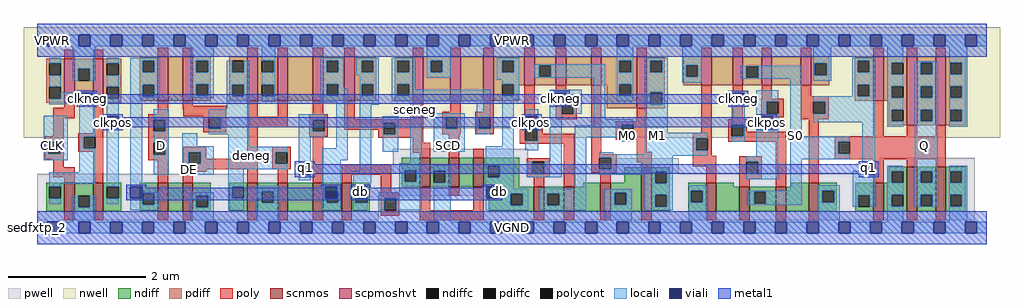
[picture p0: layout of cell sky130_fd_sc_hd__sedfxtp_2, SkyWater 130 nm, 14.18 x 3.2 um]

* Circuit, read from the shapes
.subckt sky130_fd_sc_hd__sedfxtp_2 CLK D DE SCD SCE VGND VNB VPB VPWR Q
XM1 VGND CLK n1 VNB sky130_fd_pr__nfet_01v8 w=0.42 l=0.15
XM2 n2 n1 VGND VNB sky130_fd_pr__nfet_01v8 w=0.42 l=0.15
XM3 n3 D n4 VNB sky130_fd_pr__nfet_01v8 w=0.42 l=0.15
XM4 VGND DE n3 VNB sky130_fd_pr__nfet_01v8 w=0.42 l=0.15
XM5 VGND DE n5 VNB sky130_fd_pr__nfet_01v8 w=0.42 l=0.15
XM6 n6 n5 VGND VNB sky130_fd_pr__nfet_01v8 w=0.42 l=0.15
XM7 n4 n7 n6 VNB sky130_fd_pr__nfet_01v8 w=0.42 l=0.15
XM8 n8 n9 n4 VNB sky130_fd_pr__nfet_01v8 w=0.42 l=0.15
XM9 VGND SCE n9 VNB sky130_fd_pr__nfet_01v8 w=0.42 l=0.15
XM10 n10 SCD VGND VNB sky130_fd_pr__nfet_01v8 w=0.42 l=0.15
XM11 n8 SCE n10 VNB sky130_fd_pr__nfet_01v8 w=0.42 l=0.15
XM12 n11 n1 n8 VNB sky130_fd_pr__nfet_01v8 w=0.36 l=0.15
XM13 n12 n2 n11 VNB sky130_fd_pr__nfet_01v8 w=0.36 l=0.15
XM14 VGND n13 n12 VNB sky130_fd_pr__nfet_01v8 w=0.42 l=0.15
XM15 n13 n11 VGND VNB sky130_fd_pr__nfet_01v8 w=0.64 l=0.15
XM16 n14 n13 VGND VNB sky130_fd_pr__nfet_01v8 w=0.42 l=0.15
XM17 n15 n2 n14 VNB sky130_fd_pr__nfet_01v8 w=0.36 l=0.15
XM18 n16 n1 n15 VNB sky130_fd_pr__nfet_01v8 w=0.36 l=0.15
XM19 VGND n7 n16 VNB sky130_fd_pr__nfet_01v8 w=0.42 l=0.15
XM20 VGND n15 n7 VNB sky130_fd_pr__nfet_01v8 w=0.42 l=0.15
XM21 Q n15 VGND VNB sky130_fd_pr__nfet_01v8 w=0.65 l=0.15 m=2
XM22 VPWR CLK n1 VPB sky130_fd_pr__pfet_01v8_hvt w=0.64 l=0.15
XM23 n2 n1 VPWR VPB sky130_fd_pr__pfet_01v8_hvt w=0.64 l=0.15
XM24 n17 D n4 VPB sky130_fd_pr__pfet_01v8_hvt w=0.64 l=0.15
XM25 VPWR n5 n17 VPB sky130_fd_pr__pfet_01v8_hvt w=0.64 l=0.15
XM26 VPWR DE n5 VPB sky130_fd_pr__pfet_01v8_hvt w=0.64 l=0.15
XM27 n18 DE VPWR VPB sky130_fd_pr__pfet_01v8_hvt w=0.64 l=0.15
XM28 n4 n7 n18 VPB sky130_fd_pr__pfet_01v8_hvt w=0.64 l=0.15
XM29 n8 SCE n4 VPB sky130_fd_pr__pfet_01v8_hvt w=0.64 l=0.15
XM30 VPWR SCE n9 VPB sky130_fd_pr__pfet_01v8_hvt w=0.64 l=0.15
XM31 n19 SCD VPWR VPB sky130_fd_pr__pfet_01v8_hvt w=0.64 l=0.15
XM32 n8 n9 n19 VPB sky130_fd_pr__pfet_01v8_hvt w=0.64 l=0.15
XM33 n11 n2 n8 VPB sky130_fd_pr__pfet_01v8_hvt w=0.42 l=0.15
XM34 n20 n1 n11 VPB sky130_fd_pr__pfet_01v8_hvt w=0.42 l=0.15
XM35 VPWR n13 n20 VPB sky130_fd_pr__pfet_01v8_hvt w=0.42 l=0.15
XM36 n13 n11 VPWR VPB sky130_fd_pr__pfet_01v8_hvt w=0.75 l=0.15
XM37 n21 n13 VPWR VPB sky130_fd_pr__pfet_01v8_hvt w=0.42 l=0.15
XM38 n15 n1 n21 VPB sky130_fd_pr__pfet_01v8_hvt w=0.42 l=0.15
XM39 n22 n2 n15 VPB sky130_fd_pr__pfet_01v8_hvt w=0.42 l=0.15
XM40 VPWR n7 n22 VPB sky130_fd_pr__pfet_01v8_hvt w=0.42 l=0.15
XM41 VPWR n15 n7 VPB sky130_fd_pr__pfet_01v8_hvt w=0.64 l=0.15
XM42 Q n15 VPWR VPB sky130_fd_pr__pfet_01v8_hvt w=1 l=0.15 m=2
.ends

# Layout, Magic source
magic
tech sky130B
magscale 1 2
<< nwell >>
rect -38 287 2798 582
rect -38 261 977 287
rect 1440 261 2798 287
<< pwell >>
rect 1034 157 1427 229
rect 1680 157 1864 201
rect 2449 157 2725 203
rect 1 93 2725 157
rect 1 21 993 93
rect 1287 21 2725 93
rect 29 -17 63 21
<< scnmos >>
rect 79 47 109 131
rect 163 47 193 131
rect 351 47 381 131
rect 423 47 453 131
rect 611 47 641 131
rect 699 47 729 131
rect 801 47 831 131
rect 885 47 915 131
rect 1112 119 1142 203
rect 1196 119 1226 203
rect 1268 119 1298 203
rect 1443 47 1473 119
rect 1531 47 1561 119
rect 1637 47 1667 131
rect 1756 47 1786 175
rect 1944 47 1974 131
rect 2041 47 2071 119
rect 2147 47 2177 119
rect 2242 47 2272 131
rect 2430 47 2460 131
rect 2527 47 2557 177
rect 2611 47 2641 177
<< scpmoshvt >>
rect 79 363 109 491
rect 163 363 193 491
rect 351 369 381 497
rect 423 369 453 497
rect 611 369 641 497
rect 699 369 729 497
rect 801 369 831 497
rect 893 369 923 497
rect 1092 369 1122 497
rect 1201 369 1231 497
rect 1297 369 1327 497
rect 1416 413 1446 497
rect 1507 413 1537 497
rect 1610 413 1640 497
rect 1742 347 1772 497
rect 1930 413 1960 497
rect 2021 413 2051 497
rect 2105 413 2135 497
rect 2219 413 2249 497
rect 2430 369 2460 497
rect 2527 297 2557 497
rect 2611 297 2641 497
<< ndiff >>
rect 27 119 79 131
rect 27 85 35 119
rect 69 85 79 119
rect 27 47 79 85
rect 109 93 163 131
rect 109 59 119 93
rect 153 59 163 93
rect 109 47 163 59
rect 193 119 245 131
rect 193 85 203 119
rect 237 85 245 119
rect 193 47 245 85
rect 299 100 351 131
rect 299 66 307 100
rect 341 66 351 100
rect 299 47 351 66
rect 381 47 423 131
rect 453 93 505 131
rect 453 59 463 93
rect 497 59 505 93
rect 453 47 505 59
rect 559 119 611 131
rect 559 85 567 119
rect 601 85 611 119
rect 559 47 611 85
rect 641 106 699 131
rect 641 72 653 106
rect 687 72 699 106
rect 641 47 699 72
rect 729 47 801 131
rect 831 106 885 131
rect 831 72 841 106
rect 875 72 885 106
rect 831 47 885 72
rect 915 106 967 131
rect 915 72 925 106
rect 959 72 967 106
rect 915 47 967 72
rect 1060 167 1112 203
rect 1060 133 1068 167
rect 1102 133 1112 167
rect 1060 119 1112 133
rect 1142 165 1196 203
rect 1142 131 1152 165
rect 1186 131 1196 165
rect 1142 119 1196 131
rect 1226 119 1268 203
rect 1298 180 1401 203
rect 1298 146 1310 180
rect 1344 146 1401 180
rect 1298 119 1401 146
rect 1706 131 1756 175
rect 1587 119 1637 131
rect 1313 99 1443 119
rect 1313 65 1377 99
rect 1411 65 1443 99
rect 1313 47 1443 65
rect 1473 99 1531 119
rect 1473 65 1483 99
rect 1517 65 1531 99
rect 1473 47 1531 65
rect 1561 47 1637 119
rect 1667 101 1756 131
rect 1667 67 1678 101
rect 1712 67 1756 101
rect 1667 47 1756 67
rect 1786 163 1838 175
rect 1786 129 1796 163
rect 1830 129 1838 163
rect 1786 95 1838 129
rect 1786 61 1796 95
rect 1830 61 1838 95
rect 1786 47 1838 61
rect 1892 107 1944 131
rect 1892 73 1900 107
rect 1934 73 1944 107
rect 1892 47 1944 73
rect 1974 119 2024 131
rect 2475 164 2527 177
rect 2475 131 2483 164
rect 2192 119 2242 131
rect 1974 47 2041 119
rect 2071 104 2147 119
rect 2071 70 2084 104
rect 2118 70 2147 104
rect 2071 47 2147 70
rect 2177 47 2242 119
rect 2272 107 2324 131
rect 2272 73 2282 107
rect 2316 73 2324 107
rect 2272 47 2324 73
rect 2378 94 2430 131
rect 2378 60 2386 94
rect 2420 60 2430 94
rect 2378 47 2430 60
rect 2460 130 2483 131
rect 2517 130 2527 164
rect 2460 96 2527 130
rect 2460 62 2483 96
rect 2517 62 2527 96
rect 2460 47 2527 62
rect 2557 164 2611 177
rect 2557 130 2567 164
rect 2601 130 2611 164
rect 2557 96 2611 130
rect 2557 62 2567 96
rect 2601 62 2611 96
rect 2557 47 2611 62
rect 2641 164 2699 177
rect 2641 130 2653 164
rect 2687 130 2699 164
rect 2641 96 2699 130
rect 2641 62 2653 96
rect 2687 62 2699 96
rect 2641 47 2699 62
<< pdiff >>
rect 27 477 79 491
rect 27 443 35 477
rect 69 443 79 477
rect 27 409 79 443
rect 27 375 35 409
rect 69 375 79 409
rect 27 363 79 375
rect 109 461 163 491
rect 109 427 119 461
rect 153 427 163 461
rect 109 363 163 427
rect 193 477 245 491
rect 193 443 203 477
rect 237 443 245 477
rect 193 409 245 443
rect 193 375 203 409
rect 237 375 245 409
rect 193 363 245 375
rect 299 485 351 497
rect 299 451 307 485
rect 341 451 351 485
rect 299 415 351 451
rect 299 381 307 415
rect 341 381 351 415
rect 299 369 351 381
rect 381 369 423 497
rect 453 485 505 497
rect 453 451 463 485
rect 497 451 505 485
rect 453 417 505 451
rect 453 383 463 417
rect 497 383 505 417
rect 453 369 505 383
rect 559 485 611 497
rect 559 451 567 485
rect 601 451 611 485
rect 559 415 611 451
rect 559 381 567 415
rect 601 381 611 415
rect 559 369 611 381
rect 641 485 699 497
rect 641 451 653 485
rect 687 451 699 485
rect 641 415 699 451
rect 641 381 653 415
rect 687 381 699 415
rect 641 369 699 381
rect 729 369 801 497
rect 831 485 893 497
rect 831 451 841 485
rect 875 451 893 485
rect 831 417 893 451
rect 831 383 841 417
rect 875 383 893 417
rect 831 369 893 383
rect 923 485 985 497
rect 923 451 943 485
rect 977 451 985 485
rect 923 417 985 451
rect 923 383 943 417
rect 977 383 985 417
rect 923 369 985 383
rect 1039 485 1092 497
rect 1039 451 1047 485
rect 1081 451 1092 485
rect 1039 417 1092 451
rect 1039 383 1047 417
rect 1081 383 1092 417
rect 1039 369 1092 383
rect 1122 485 1201 497
rect 1122 451 1144 485
rect 1178 451 1201 485
rect 1122 369 1201 451
rect 1231 369 1297 497
rect 1327 485 1416 497
rect 1327 451 1351 485
rect 1385 451 1416 485
rect 1327 417 1416 451
rect 1327 383 1351 417
rect 1385 413 1416 417
rect 1446 472 1507 497
rect 1446 438 1459 472
rect 1493 438 1507 472
rect 1446 413 1507 438
rect 1537 413 1610 497
rect 1640 485 1742 497
rect 1640 451 1692 485
rect 1726 451 1742 485
rect 1640 417 1742 451
rect 1640 413 1692 417
rect 1385 383 1401 413
rect 1327 369 1401 383
rect 1655 383 1692 413
rect 1726 383 1742 417
rect 1655 347 1742 383
rect 1772 485 1824 497
rect 1772 451 1782 485
rect 1816 451 1824 485
rect 1772 393 1824 451
rect 1878 472 1930 497
rect 1878 438 1886 472
rect 1920 438 1930 472
rect 1878 413 1930 438
rect 1960 413 2021 497
rect 2051 469 2105 497
rect 2051 435 2061 469
rect 2095 435 2105 469
rect 2051 413 2105 435
rect 2135 413 2219 497
rect 2249 477 2302 497
rect 2249 443 2260 477
rect 2294 443 2302 477
rect 2249 413 2302 443
rect 2376 485 2430 497
rect 2376 451 2384 485
rect 2418 451 2430 485
rect 2376 415 2430 451
rect 1772 359 1782 393
rect 1816 359 1824 393
rect 1772 347 1824 359
rect 2376 381 2384 415
rect 2418 381 2430 415
rect 2376 369 2430 381
rect 2460 479 2527 497
rect 2460 445 2483 479
rect 2517 445 2527 479
rect 2460 411 2527 445
rect 2460 377 2483 411
rect 2517 377 2527 411
rect 2460 369 2527 377
rect 2475 343 2527 369
rect 2475 309 2483 343
rect 2517 309 2527 343
rect 2475 297 2527 309
rect 2557 479 2611 497
rect 2557 445 2567 479
rect 2601 445 2611 479
rect 2557 411 2611 445
rect 2557 377 2567 411
rect 2601 377 2611 411
rect 2557 343 2611 377
rect 2557 309 2567 343
rect 2601 309 2611 343
rect 2557 297 2611 309
rect 2641 479 2699 497
rect 2641 445 2653 479
rect 2687 445 2699 479
rect 2641 411 2699 445
rect 2641 377 2653 411
rect 2687 377 2699 411
rect 2641 343 2699 377
rect 2641 309 2653 343
rect 2687 309 2699 343
rect 2641 297 2699 309
<< ndiffc >>
rect 35 85 69 119
rect 119 59 153 93
rect 203 85 237 119
rect 307 66 341 100
rect 463 59 497 93
rect 567 85 601 119
rect 653 72 687 106
rect 841 72 875 106
rect 925 72 959 106
rect 1068 133 1102 167
rect 1152 131 1186 165
rect 1310 146 1344 180
rect 1377 65 1411 99
rect 1483 65 1517 99
rect 1678 67 1712 101
rect 1796 129 1830 163
rect 1796 61 1830 95
rect 1900 73 1934 107
rect 2084 70 2118 104
rect 2282 73 2316 107
rect 2386 60 2420 94
rect 2483 130 2517 164
rect 2483 62 2517 96
rect 2567 130 2601 164
rect 2567 62 2601 96
rect 2653 130 2687 164
rect 2653 62 2687 96
<< pdiffc >>
rect 35 443 69 477
rect 35 375 69 409
rect 119 427 153 461
rect 203 443 237 477
rect 203 375 237 409
rect 307 451 341 485
rect 307 381 341 415
rect 463 451 497 485
rect 463 383 497 417
rect 567 451 601 485
rect 567 381 601 415
rect 653 451 687 485
rect 653 381 687 415
rect 841 451 875 485
rect 841 383 875 417
rect 943 451 977 485
rect 943 383 977 417
rect 1047 451 1081 485
rect 1047 383 1081 417
rect 1144 451 1178 485
rect 1351 451 1385 485
rect 1351 383 1385 417
rect 1459 438 1493 472
rect 1692 451 1726 485
rect 1692 383 1726 417
rect 1782 451 1816 485
rect 1886 438 1920 472
rect 2061 435 2095 469
rect 2260 443 2294 477
rect 2384 451 2418 485
rect 1782 359 1816 393
rect 2384 381 2418 415
rect 2483 445 2517 479
rect 2483 377 2517 411
rect 2483 309 2517 343
rect 2567 445 2601 479
rect 2567 377 2601 411
rect 2567 309 2601 343
rect 2653 445 2687 479
rect 2653 377 2687 411
rect 2653 309 2687 343
<< poly >>
rect 79 491 109 517
rect 163 491 193 517
rect 351 497 381 523
rect 423 497 453 523
rect 611 497 641 523
rect 699 497 729 523
rect 801 497 831 523
rect 893 497 923 523
rect 1092 497 1122 523
rect 1201 497 1231 523
rect 1297 497 1327 523
rect 1416 497 1446 523
rect 1507 497 1537 523
rect 1610 497 1640 523
rect 1742 497 1772 523
rect 1930 497 1960 523
rect 2021 497 2051 523
rect 2105 497 2135 523
rect 2219 497 2249 523
rect 2430 497 2460 523
rect 2527 497 2557 523
rect 2611 497 2641 523
rect 79 348 109 363
rect 47 318 109 348
rect 47 265 77 318
rect 163 274 193 363
rect 351 330 381 369
rect 423 354 453 369
rect 423 343 549 354
rect 23 249 77 265
rect 23 215 33 249
rect 67 215 77 249
rect 119 264 193 274
rect 119 230 135 264
rect 169 230 193 264
rect 119 220 193 230
rect 23 199 77 215
rect 47 176 77 199
rect 47 146 109 176
rect 79 131 109 146
rect 163 131 193 220
rect 323 314 383 330
rect 425 324 549 343
rect 323 280 339 314
rect 373 280 383 314
rect 323 246 383 280
rect 483 321 549 324
rect 483 287 499 321
rect 533 287 549 321
rect 483 277 549 287
rect 611 322 641 369
rect 699 322 729 369
rect 801 330 831 369
rect 611 292 729 322
rect 791 314 845 330
rect 323 212 339 246
rect 373 212 383 246
rect 323 196 383 212
rect 425 219 491 235
rect 351 131 381 196
rect 425 185 441 219
rect 475 200 491 219
rect 611 200 641 292
rect 791 280 801 314
rect 835 280 845 314
rect 893 315 923 369
rect 1092 315 1122 369
rect 1201 337 1231 369
rect 1297 337 1327 369
rect 893 305 1122 315
rect 893 285 1007 305
rect 791 264 845 280
rect 991 271 1007 285
rect 1041 271 1122 305
rect 1177 321 1231 337
rect 1177 287 1187 321
rect 1221 287 1231 321
rect 1177 271 1231 287
rect 1273 321 1327 337
rect 1273 287 1283 321
rect 1317 287 1327 321
rect 1416 297 1446 413
rect 1507 381 1537 413
rect 1507 365 1568 381
rect 1507 331 1524 365
rect 1558 331 1568 365
rect 1507 315 1568 331
rect 1273 271 1327 287
rect 1403 287 1469 297
rect 475 185 641 200
rect 425 176 641 185
rect 423 170 641 176
rect 423 162 491 170
rect 423 131 453 162
rect 611 131 641 170
rect 683 219 737 235
rect 683 185 693 219
rect 727 185 737 219
rect 683 169 737 185
rect 699 131 729 169
rect 801 131 831 264
rect 991 261 1122 271
rect 1092 247 1122 261
rect 1092 218 1142 247
rect 1112 203 1142 218
rect 1196 203 1226 271
rect 1403 253 1419 287
rect 1453 273 1469 287
rect 1453 253 1561 273
rect 1403 243 1561 253
rect 1268 203 1298 229
rect 885 153 1029 183
rect 885 131 915 153
rect 999 101 1029 153
rect 1423 191 1489 201
rect 1423 157 1439 191
rect 1473 157 1489 191
rect 1423 147 1489 157
rect 1443 119 1473 147
rect 1531 119 1561 243
rect 1610 213 1640 413
rect 1742 309 1772 347
rect 1682 299 1772 309
rect 1682 265 1698 299
rect 1732 265 1772 299
rect 1930 275 1960 413
rect 2021 315 2051 413
rect 2105 375 2135 413
rect 2219 381 2249 413
rect 2104 365 2170 375
rect 2104 331 2120 365
rect 2154 331 2170 365
rect 2104 321 2170 331
rect 2219 365 2300 381
rect 2219 331 2256 365
rect 2290 331 2300 365
rect 2219 315 2300 331
rect 1682 255 1772 265
rect 1742 220 1772 255
rect 1905 259 1960 275
rect 1905 225 1915 259
rect 1949 225 1960 259
rect 2008 299 2062 315
rect 2008 265 2018 299
rect 2052 279 2062 299
rect 2052 265 2177 279
rect 2008 249 2177 265
rect 1610 203 1684 213
rect 1610 169 1634 203
rect 1668 169 1684 203
rect 1742 190 1786 220
rect 1756 175 1786 190
rect 1905 209 1960 225
rect 1905 179 1974 209
rect 1610 159 1684 169
rect 1637 131 1667 159
rect 999 85 1053 101
rect 999 51 1009 85
rect 1043 51 1053 85
rect 79 21 109 47
rect 163 21 193 47
rect 351 21 381 47
rect 423 21 453 47
rect 611 21 641 47
rect 699 21 729 47
rect 801 21 831 47
rect 885 21 915 47
rect 999 35 1053 51
rect 1112 51 1142 119
rect 1196 93 1226 119
rect 1268 51 1298 119
rect 1112 21 1298 51
rect 1944 131 1974 179
rect 2041 191 2105 207
rect 2041 157 2061 191
rect 2095 157 2105 191
rect 2041 141 2105 157
rect 2041 119 2071 141
rect 2147 119 2177 249
rect 2242 131 2272 315
rect 2430 265 2460 369
rect 2527 265 2557 297
rect 2611 265 2641 297
rect 2318 249 2641 265
rect 2318 215 2328 249
rect 2362 215 2641 249
rect 2318 199 2641 215
rect 2430 131 2460 199
rect 2527 177 2557 199
rect 2611 177 2641 199
rect 1443 21 1473 47
rect 1531 21 1561 47
rect 1637 21 1667 47
rect 1756 21 1786 47
rect 1944 21 1974 47
rect 2041 21 2071 47
rect 2147 21 2177 47
rect 2242 21 2272 47
rect 2430 21 2460 47
rect 2527 21 2557 47
rect 2611 21 2641 47
<< polycont >>
rect 33 215 67 249
rect 135 230 169 264
rect 339 280 373 314
rect 499 287 533 321
rect 339 212 373 246
rect 441 185 475 219
rect 801 280 835 314
rect 1007 271 1041 305
rect 1187 287 1221 321
rect 1283 287 1317 321
rect 1524 331 1558 365
rect 693 185 727 219
rect 1419 253 1453 287
rect 1439 157 1473 191
rect 1698 265 1732 299
rect 2120 331 2154 365
rect 2256 331 2290 365
rect 1915 225 1949 259
rect 2018 265 2052 299
rect 1634 169 1668 203
rect 1009 51 1043 85
rect 2061 157 2095 191
rect 2328 215 2362 249
<< locali >>
rect 0 527 29 561
rect 63 527 121 561
rect 155 527 213 561
rect 247 527 305 561
rect 339 527 397 561
rect 431 527 489 561
rect 523 527 581 561
rect 615 527 673 561
rect 707 527 765 561
rect 799 527 857 561
rect 891 527 949 561
rect 983 527 1041 561
rect 1075 527 1133 561
rect 1167 527 1225 561
rect 1259 527 1317 561
rect 1351 527 1409 561
rect 1443 527 1501 561
rect 1535 527 1593 561
rect 1627 527 1685 561
rect 1719 527 1777 561
rect 1811 527 1869 561
rect 1903 527 1961 561
rect 1995 527 2053 561
rect 2087 527 2145 561
rect 2179 527 2237 561
rect 2271 527 2329 561
rect 2363 527 2421 561
rect 2455 527 2513 561
rect 2547 527 2605 561
rect 2639 527 2697 561
rect 2731 527 2760 561
rect 35 477 69 493
rect 35 409 69 443
rect 103 461 169 527
rect 103 427 119 461
rect 153 427 169 461
rect 203 477 237 493
rect 203 409 237 443
rect 69 391 169 393
rect 69 375 127 391
rect 35 359 127 375
rect 123 357 127 359
rect 161 357 169 391
rect 19 249 89 325
rect 19 215 33 249
rect 67 215 89 249
rect 19 195 89 215
rect 123 264 169 357
rect 123 230 135 264
rect 123 161 169 230
rect 35 127 169 161
rect 203 323 237 375
rect 35 119 69 127
rect 203 119 237 289
rect 35 69 69 85
rect 103 59 119 93
rect 153 59 169 93
rect 203 69 237 85
rect 271 485 357 493
rect 271 451 307 485
rect 341 451 357 485
rect 271 415 357 451
rect 271 381 307 415
rect 341 381 357 415
rect 271 378 357 381
rect 447 485 513 527
rect 653 485 692 527
rect 447 451 463 485
rect 497 451 513 485
rect 447 417 513 451
rect 447 383 463 417
rect 497 383 513 417
rect 447 378 513 383
rect 551 451 567 485
rect 601 451 617 485
rect 551 415 617 451
rect 551 381 567 415
rect 601 381 617 415
rect 271 119 305 378
rect 551 344 617 381
rect 687 451 692 485
rect 653 415 692 451
rect 687 381 692 415
rect 653 365 692 381
rect 825 485 891 493
rect 825 451 841 485
rect 875 451 891 485
rect 825 417 891 451
rect 927 485 993 493
rect 927 451 943 485
rect 977 451 993 485
rect 927 442 993 451
rect 825 383 841 417
rect 875 404 891 417
rect 937 417 993 442
rect 875 383 903 404
rect 825 364 903 383
rect 339 314 383 344
rect 373 280 383 314
rect 339 246 383 280
rect 499 321 617 344
rect 533 287 617 321
rect 373 212 383 246
rect 339 153 383 212
rect 422 237 465 274
rect 499 271 617 287
rect 422 219 513 237
rect 422 185 441 219
rect 475 185 513 219
rect 422 153 513 185
rect 556 235 617 271
rect 761 314 835 330
rect 761 280 801 314
rect 761 264 835 280
rect 556 219 727 235
rect 556 185 693 219
rect 556 169 727 185
rect 761 187 795 264
rect 869 230 903 364
rect 556 119 601 169
rect 761 137 795 153
rect 829 196 903 230
rect 937 383 943 417
rect 977 383 993 417
rect 937 357 993 383
rect 1031 485 1099 493
rect 1031 451 1047 485
rect 1081 451 1099 485
rect 1031 417 1099 451
rect 1133 485 1202 527
rect 1133 451 1144 485
rect 1178 451 1202 485
rect 1133 435 1202 451
rect 1335 485 1401 493
rect 1335 451 1351 485
rect 1385 451 1401 485
rect 1685 485 1732 527
rect 1335 430 1401 451
rect 1443 472 1651 475
rect 1443 438 1459 472
rect 1493 438 1651 472
rect 1443 435 1651 438
rect 1031 383 1047 417
rect 1081 401 1099 417
rect 1351 417 1401 430
rect 1081 383 1317 401
rect 1031 367 1317 383
rect 305 100 357 103
rect 305 85 307 100
rect 103 17 169 59
rect 271 66 307 85
rect 341 66 357 100
rect 271 51 357 66
rect 447 93 513 103
rect 447 59 463 93
rect 497 59 513 93
rect 447 17 513 59
rect 556 85 567 119
rect 556 51 601 85
rect 637 106 703 122
rect 637 72 653 106
rect 687 72 703 106
rect 637 17 703 72
rect 829 119 883 196
rect 937 165 971 357
rect 1005 305 1050 323
rect 1005 271 1007 305
rect 1041 271 1050 305
rect 1005 221 1050 271
rect 1084 187 1118 367
rect 1152 321 1243 333
rect 1152 287 1187 321
rect 1221 287 1243 321
rect 1152 221 1243 287
rect 1277 321 1317 367
rect 1277 287 1283 321
rect 1277 271 1317 287
rect 1385 383 1401 417
rect 1351 373 1401 383
rect 1490 391 1583 401
rect 1351 237 1385 373
rect 1490 357 1502 391
rect 1536 365 1583 391
rect 829 85 837 119
rect 871 106 883 119
rect 829 72 841 85
rect 875 72 883 106
rect 829 51 883 72
rect 919 129 971 165
rect 1052 167 1118 187
rect 1052 133 1068 167
rect 1102 133 1118 167
rect 919 119 959 129
rect 919 85 923 119
rect 957 106 959 119
rect 1052 103 1118 133
rect 919 72 925 85
rect 919 51 959 72
rect 993 85 1118 103
rect 993 51 1009 85
rect 1043 51 1118 85
rect 1152 165 1202 181
rect 1186 131 1202 165
rect 1152 17 1202 131
rect 1303 180 1385 237
rect 1419 323 1456 344
rect 1419 289 1420 323
rect 1454 289 1456 323
rect 1419 287 1456 289
rect 1453 253 1456 287
rect 1419 225 1456 253
rect 1490 191 1524 357
rect 1558 331 1583 365
rect 1617 315 1651 435
rect 1685 451 1692 485
rect 1726 451 1732 485
rect 1685 417 1732 451
rect 1685 383 1692 417
rect 1726 383 1732 417
rect 1685 367 1732 383
rect 1766 485 1832 493
rect 1766 451 1782 485
rect 1816 451 1832 485
rect 1766 393 1832 451
rect 1874 472 1932 527
rect 1874 438 1886 472
rect 1920 438 1932 472
rect 2256 477 2308 527
rect 1874 421 1932 438
rect 2045 469 2222 471
rect 2045 435 2061 469
rect 2095 435 2222 469
rect 2045 433 2222 435
rect 1766 359 1782 393
rect 1816 359 1832 393
rect 1617 299 1732 315
rect 1617 297 1698 299
rect 1303 146 1310 180
rect 1344 146 1385 180
rect 1423 157 1439 191
rect 1473 157 1524 191
rect 1423 147 1524 157
rect 1562 265 1698 297
rect 1562 263 1732 265
rect 1303 119 1385 146
rect 1303 85 1306 119
rect 1340 113 1385 119
rect 1562 113 1596 263
rect 1698 249 1732 263
rect 1766 275 1832 359
rect 2018 391 2056 393
rect 2018 357 2020 391
rect 2054 357 2056 391
rect 2018 299 2056 357
rect 1766 259 1949 275
rect 1766 225 1915 259
rect 2052 265 2056 299
rect 2018 249 2056 265
rect 2090 365 2154 399
rect 2090 331 2120 365
rect 2090 323 2154 331
rect 2090 289 2104 323
rect 2138 289 2154 323
rect 1634 213 1674 219
rect 1766 213 1949 225
rect 1634 209 1949 213
rect 1634 203 1847 209
rect 2090 207 2154 289
rect 1668 169 1847 203
rect 1634 163 1847 169
rect 1634 153 1796 163
rect 1340 99 1427 113
rect 1340 85 1377 99
rect 1303 65 1377 85
rect 1411 65 1427 99
rect 1303 51 1427 65
rect 1461 99 1596 113
rect 1766 129 1796 153
rect 1830 129 1847 163
rect 2061 191 2154 207
rect 2095 157 2154 191
rect 2061 141 2154 157
rect 2188 265 2222 433
rect 2256 443 2260 477
rect 2294 443 2308 477
rect 2256 427 2308 443
rect 2368 485 2436 493
rect 2368 451 2384 485
rect 2418 451 2436 485
rect 2368 415 2436 451
rect 2368 381 2384 415
rect 2418 381 2436 415
rect 2256 365 2436 381
rect 2290 331 2436 365
rect 2256 306 2436 331
rect 2188 249 2362 265
rect 2188 215 2328 249
rect 2188 199 2362 215
rect 1461 65 1483 99
rect 1517 65 1596 99
rect 1461 51 1596 65
rect 1649 101 1728 112
rect 1649 67 1678 101
rect 1712 67 1728 101
rect 1649 17 1728 67
rect 1766 95 1847 129
rect 1766 61 1796 95
rect 1830 61 1847 95
rect 1766 51 1847 61
rect 1893 107 1948 123
rect 2188 107 2222 199
rect 2398 187 2436 306
rect 2470 479 2517 527
rect 2470 445 2483 479
rect 2470 411 2517 445
rect 2470 377 2483 411
rect 2470 343 2517 377
rect 2470 309 2483 343
rect 2470 293 2517 309
rect 2551 479 2617 484
rect 2551 445 2567 479
rect 2601 445 2617 479
rect 2551 411 2617 445
rect 2551 377 2567 411
rect 2601 377 2617 411
rect 2551 343 2617 377
rect 2551 309 2567 343
rect 2601 309 2617 343
rect 2398 165 2400 187
rect 2370 153 2400 165
rect 2434 153 2436 187
rect 1893 73 1900 107
rect 1934 73 1948 107
rect 1893 17 1948 73
rect 2065 104 2222 107
rect 2065 70 2084 104
rect 2118 70 2222 104
rect 2065 66 2222 70
rect 2270 107 2333 123
rect 2270 73 2282 107
rect 2316 73 2333 107
rect 2270 17 2333 73
rect 2370 94 2436 153
rect 2370 60 2386 94
rect 2420 60 2436 94
rect 2470 164 2517 180
rect 2470 130 2483 164
rect 2470 96 2517 130
rect 2470 62 2483 96
rect 2470 17 2517 62
rect 2551 164 2617 309
rect 2651 479 2703 527
rect 2651 445 2653 479
rect 2687 445 2703 479
rect 2651 411 2703 445
rect 2651 377 2653 411
rect 2687 377 2703 411
rect 2651 343 2703 377
rect 2651 309 2653 343
rect 2687 309 2703 343
rect 2651 293 2703 309
rect 2551 130 2567 164
rect 2601 130 2617 164
rect 2551 96 2617 130
rect 2551 62 2567 96
rect 2601 62 2617 96
rect 2551 61 2617 62
rect 2651 164 2703 180
rect 2651 130 2653 164
rect 2687 130 2703 164
rect 2651 96 2703 130
rect 2651 62 2653 96
rect 2687 62 2703 96
rect 2651 17 2703 62
rect 0 -17 29 17
rect 63 -17 121 17
rect 155 -17 213 17
rect 247 -17 305 17
rect 339 -17 397 17
rect 431 -17 489 17
rect 523 -17 581 17
rect 615 -17 673 17
rect 707 -17 765 17
rect 799 -17 857 17
rect 891 -17 949 17
rect 983 -17 1041 17
rect 1075 -17 1133 17
rect 1167 -17 1225 17
rect 1259 -17 1317 17
rect 1351 -17 1409 17
rect 1443 -17 1501 17
rect 1535 -17 1593 17
rect 1627 -17 1685 17
rect 1719 -17 1777 17
rect 1811 -17 1869 17
rect 1903 -17 1961 17
rect 1995 -17 2053 17
rect 2087 -17 2145 17
rect 2179 -17 2237 17
rect 2271 -17 2329 17
rect 2363 -17 2421 17
rect 2455 -17 2513 17
rect 2547 -17 2605 17
rect 2639 -17 2697 17
rect 2731 -17 2760 17
<< viali >>
rect 29 527 63 561
rect 121 527 155 561
rect 213 527 247 561
rect 305 527 339 561
rect 397 527 431 561
rect 489 527 523 561
rect 581 527 615 561
rect 673 527 707 561
rect 765 527 799 561
rect 857 527 891 561
rect 949 527 983 561
rect 1041 527 1075 561
rect 1133 527 1167 561
rect 1225 527 1259 561
rect 1317 527 1351 561
rect 1409 527 1443 561
rect 1501 527 1535 561
rect 1593 527 1627 561
rect 1685 527 1719 561
rect 1777 527 1811 561
rect 1869 527 1903 561
rect 1961 527 1995 561
rect 2053 527 2087 561
rect 2145 527 2179 561
rect 2237 527 2271 561
rect 2329 527 2363 561
rect 2421 527 2455 561
rect 2513 527 2547 561
rect 2605 527 2639 561
rect 2697 527 2731 561
rect 127 357 161 391
rect 203 289 237 323
rect 271 85 305 119
rect 761 153 795 187
rect 1502 365 1536 391
rect 1502 357 1524 365
rect 1524 357 1536 365
rect 837 106 871 119
rect 837 85 841 106
rect 841 85 871 106
rect 923 106 957 119
rect 923 85 925 106
rect 925 85 957 106
rect 1420 289 1454 323
rect 1306 85 1340 119
rect 2020 357 2054 391
rect 2104 289 2138 323
rect 2400 153 2434 187
rect 29 -17 63 17
rect 121 -17 155 17
rect 213 -17 247 17
rect 305 -17 339 17
rect 397 -17 431 17
rect 489 -17 523 17
rect 581 -17 615 17
rect 673 -17 707 17
rect 765 -17 799 17
rect 857 -17 891 17
rect 949 -17 983 17
rect 1041 -17 1075 17
rect 1133 -17 1167 17
rect 1225 -17 1259 17
rect 1317 -17 1351 17
rect 1409 -17 1443 17
rect 1501 -17 1535 17
rect 1593 -17 1627 17
rect 1685 -17 1719 17
rect 1777 -17 1811 17
rect 1869 -17 1903 17
rect 1961 -17 1995 17
rect 2053 -17 2087 17
rect 2145 -17 2179 17
rect 2237 -17 2271 17
rect 2329 -17 2363 17
rect 2421 -17 2455 17
rect 2513 -17 2547 17
rect 2605 -17 2639 17
rect 2697 -17 2731 17
<< metal1 >>
rect 0 561 2760 592
rect 0 527 29 561
rect 63 527 121 561
rect 155 527 213 561
rect 247 527 305 561
rect 339 527 397 561
rect 431 527 489 561
rect 523 527 581 561
rect 615 527 673 561
rect 707 527 765 561
rect 799 527 857 561
rect 891 527 949 561
rect 983 527 1041 561
rect 1075 527 1133 561
rect 1167 527 1225 561
rect 1259 527 1317 561
rect 1351 527 1409 561
rect 1443 527 1501 561
rect 1535 527 1593 561
rect 1627 527 1685 561
rect 1719 527 1777 561
rect 1811 527 1869 561
rect 1903 527 1961 561
rect 1995 527 2053 561
rect 2087 527 2145 561
rect 2179 527 2237 561
rect 2271 527 2329 561
rect 2363 527 2421 561
rect 2455 527 2513 561
rect 2547 527 2605 561
rect 2639 527 2697 561
rect 2731 527 2760 561
rect 0 496 2760 527
rect 115 391 173 397
rect 115 357 127 391
rect 161 388 173 391
rect 1490 391 1548 397
rect 1490 388 1502 391
rect 161 360 1502 388
rect 161 357 173 360
rect 115 351 173 357
rect 1490 357 1502 360
rect 1536 388 1548 391
rect 2008 391 2066 397
rect 2008 388 2020 391
rect 1536 360 2020 388
rect 1536 357 1548 360
rect 1490 351 1548 357
rect 2008 357 2020 360
rect 2054 357 2066 391
rect 2008 351 2066 357
rect 191 323 249 329
rect 191 289 203 323
rect 237 320 249 323
rect 1408 323 1466 329
rect 1408 320 1420 323
rect 237 292 1420 320
rect 237 289 249 292
rect 191 283 249 289
rect 1408 289 1420 292
rect 1454 320 1466 323
rect 2092 323 2150 329
rect 2092 320 2104 323
rect 1454 292 2104 320
rect 1454 289 1466 292
rect 1408 283 1466 289
rect 2092 289 2104 292
rect 2138 289 2150 323
rect 2092 283 2150 289
rect 749 187 807 193
rect 749 153 761 187
rect 795 184 807 187
rect 2388 187 2446 193
rect 2388 184 2400 187
rect 795 156 2400 184
rect 795 153 807 156
rect 749 147 807 153
rect 2388 153 2400 156
rect 2434 153 2446 187
rect 2388 147 2446 153
rect 259 119 317 125
rect 259 85 271 119
rect 305 116 317 119
rect 825 119 883 125
rect 825 116 837 119
rect 305 85 837 116
rect 871 85 883 119
rect 259 79 883 85
rect 911 119 969 125
rect 911 85 923 119
rect 957 116 969 119
rect 1294 119 1352 125
rect 1294 116 1306 119
rect 957 85 1306 116
rect 1340 85 1352 119
rect 911 79 1352 85
rect 0 17 2760 48
rect 0 -17 29 17
rect 63 -17 121 17
rect 155 -17 213 17
rect 247 -17 305 17
rect 339 -17 397 17
rect 431 -17 489 17
rect 523 -17 581 17
rect 615 -17 673 17
rect 707 -17 765 17
rect 799 -17 857 17
rect 891 -17 949 17
rect 983 -17 1041 17
rect 1075 -17 1133 17
rect 1167 -17 1225 17
rect 1259 -17 1317 17
rect 1351 -17 1409 17
rect 1443 -17 1501 17
rect 1535 -17 1593 17
rect 1627 -17 1685 17
rect 1719 -17 1777 17
rect 1811 -17 1869 17
rect 1903 -17 1961 17
rect 1995 -17 2053 17
rect 2087 -17 2145 17
rect 2179 -17 2237 17
rect 2271 -17 2329 17
rect 2363 -17 2421 17
rect 2455 -17 2513 17
rect 2547 -17 2605 17
rect 2639 -17 2697 17
rect 2731 -17 2760 17
rect 0 -48 2760 -17
<< labels >>
rlabel comment s 0 0 0 0 4 sedfxtp_2
flabel comment s 1433 304 1433 304 0 FreeSans 200 0 0 0 clkpos
flabel comment s 1520 374 1520 374 0 FreeSans 200 0 0 0 clkneg
flabel comment s 2417 174 2417 174 0 FreeSans 200 0 0 0 q1
flabel comment s 219 304 219 304 0 FreeSans 200 0 0 0 clkpos
flabel comment s 147 374 147 374 0 FreeSans 200 0 0 0 clkneg
flabel comment s 623 209 623 209 0 FreeSans 200 0 0 0 deneg
flabel comment s 939 104 939 104 0 FreeSans 200 0 0 0 db
flabel comment s 780 174 780 174 0 FreeSans 200 0 0 0 q1
flabel comment s 2120 304 2120 304 0 FreeSans 200 0 0 0 clkpos
flabel comment s 2037 374 2037 374 0 FreeSans 200 0 0 0 clkneg
flabel comment s 1343 104 1343 104 0 FreeSans 200 0 0 0 db
flabel comment s 2205 269 2205 269 0 FreeSans 200 0 0 0 S0
flabel comment s 1099 344 1099 344 0 FreeSans 200 0 0 0 sceneg
flabel comment s 1716 269 1716 269 0 FreeSans 200 0 0 0 M0
flabel comment s 1802 269 1802 269 0 FreeSans 200 0 0 0 M1
flabel metal1 s 29 527 63 561 0 FreeSans 200 0 0 0 VPWR
port 9 nsew power bidirectional abutment
flabel metal1 s 29 -17 63 17 0 FreeSans 200 0 0 0 VGND
port 6 nsew ground bidirectional abutment
flabel locali s 29 221 63 255 0 FreeSans 400 0 0 0 CLK
port 1 nsew clock input
flabel locali s 1179 221 1213 255 0 FreeSans 400 0 0 0 SCD
port 4 nsew signal input
flabel locali s 426 153 460 187 0 FreeSans 400 0 0 0 DE
port 3 nsew signal input
flabel locali s 344 221 378 255 0 FreeSans 400 0 0 0 D
port 2 nsew signal input
flabel locali s 2563 221 2597 255 0 FreeSans 400 0 0 0 Q
port 10 nsew signal output
flabel locali s 1011 289 1045 323 0 FreeSans 400 0 0 0 SCE
port 5 nsew signal input
flabel nwell s 29 527 63 561 0 FreeSans 200 0 0 0 VPB
port 8 nsew power bidirectional
flabel nwell s 46 544 46 544 0 FreeSans 200 0 0 0 VPB
flabel pwell s 29 -17 63 17 0 FreeSans 400 0 0 0 VNB
port 7 nsew ground bidirectional
flabel pwell s 46 0 46 0 0 FreeSans 200 0 0 0 VNB
flabel pwell s 46 0 46 0 0 FreeSans 200 0 0 0 VNB
rlabel metal1 s 0 -48 2760 48 1 VGND
port 6 nsew ground bidirectional abutment
rlabel metal1 s 0 496 2760 592 1 VPWR
port 9 nsew power bidirectional abutment
<< properties >>
string FIXED_BBOX 0 0 2760 544
string GDS_END 534486
string GDS_FILE $PDKPATH/libs.ref/sky130_fd_sc_hd/gds/sky130_fd_sc_hd.gds
string GDS_START 512762
string LEFclass CORE
string LEFsite unithd
string LEFsymmetry X Y R90
<< end >>
